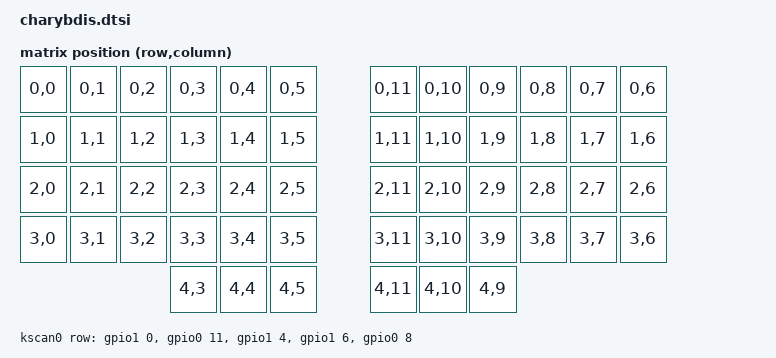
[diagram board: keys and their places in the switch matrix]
#include <dt-bindings/zmk/matrix_transform.h>
#include <dt-bindings/led/led.h>

#include <physical_layouts.dtsi>

/ {
    physical_layout_0: physical_layout_0 {
        compatible = "zmk,physical-layout";
        display-name = "default_transform";

        kscan = <&kscan0>;
        transform = <&matrix_transform0>;

        keys  //                     w   h    x    y     rot    rx    ry
            = <&key_physical_attrs 100 100    0    0       0     0     0>
            , <&key_physical_attrs 100 100  100    0       0     0     0>
            , <&key_physical_attrs 100 100  200    0       0     0     0>
            , <&key_physical_attrs 100 100  300    0       0     0     0>
            , <&key_physical_attrs 100 100  400    0       0     0     0>
            , <&key_physical_attrs 100 100  500    0       0     0     0>
            , <&key_physical_attrs 100 100  700    0       0     0     0>
            , <&key_physical_attrs 100 100  800    0       0     0     0>
            , <&key_physical_attrs 100 100  900    0       0     0     0>
            , <&key_physical_attrs 100 100 1000    0       0     0     0>
            , <&key_physical_attrs 100 100 1100    0       0     0     0>
            , <&key_physical_attrs 100 100 1200    0       0     0     0>
            , <&key_physical_attrs 100 100    0  100       0     0     0>
            , <&key_physical_attrs 100 100  100  100       0     0     0>
            , <&key_physical_attrs 100 100  200  100       0     0     0>
            , <&key_physical_attrs 100 100  300  100       0     0     0>
            , <&key_physical_attrs 100 100  400  100       0     0     0>
            , <&key_physical_attrs 100 100  500  100       0     0     0>
            , <&key_physical_attrs 100 100  700  100       0     0     0>
            , <&key_physical_attrs 100 100  800  100       0     0     0>
            , <&key_physical_attrs 100 100  900  100       0     0     0>
            , <&key_physical_attrs 100 100 1000  100       0     0     0>
            , <&key_physical_attrs 100 100 1100  100       0     0     0>
            , <&key_physical_attrs 100 100 1200  100       0     0     0>
            , <&key_physical_attrs 100 100    0  200       0     0     0>
            , <&key_physical_attrs 100 100  100  200       0     0     0>
            , <&key_physical_attrs 100 100  200  200       0     0     0>
            , <&key_physical_attrs 100 100  300  200       0     0     0>
            , <&key_physical_attrs 100 100  400  200       0     0     0>
            , <&key_physical_attrs 100 100  500  200       0     0     0>
            , <&key_physical_attrs 100 100  700  200       0     0     0>
            , <&key_physical_attrs 100 100  800  200       0     0     0>
            , <&key_physical_attrs 100 100  900  200       0     0     0>
            , <&key_physical_attrs 100 100 1000  200       0     0     0>
            , <&key_physical_attrs 100 100 1100  200       0     0     0>
            , <&key_physical_attrs 100 100 1200  200       0     0     0>
            , <&key_physical_attrs 100 100    0  300       0     0     0>
            , <&key_physical_attrs 100 100  100  300       0     0     0>
            , <&key_physical_attrs 100 100  200  300       0     0     0>
            , <&key_physical_attrs 100 100  300  300       0     0     0>
            , <&key_physical_attrs 100 100  400  300       0     0     0>
            , <&key_physical_attrs 100 100  500  300       0     0     0>
            , <&key_physical_attrs 100 100  700  300       0     0     0>
            , <&key_physical_attrs 100 100  800  300       0     0     0>
            , <&key_physical_attrs 100 100  900  300       0     0     0>
            , <&key_physical_attrs 100 100 1000  300       0     0     0>
            , <&key_physical_attrs 100 100 1100  300       0     0     0>
            , <&key_physical_attrs 100 100 1200  300       0     0     0>
            , <&key_physical_attrs 100 100  300  400       0     0     0>
            , <&key_physical_attrs 100 100  400  400       0     0     0>
            , <&key_physical_attrs 100 100  500  400       0     0     0>
            , <&key_physical_attrs 100 100  700  400       0     0     0>
            , <&key_physical_attrs 100 100  800  400       0     0     0>
            , <&key_physical_attrs 100 100  900  400       0     0     0>
            ;
    };
};

/ {
    chosen {
        zmk,kscan = &kscan0;
        zmk,physical-layouts = &physical_layout_0;
    };

    default_transform: keymap_transform_0 {
		compatible = "zmk,matrix-transform";
        columns = <12>;
        rows = <5>;

        map = <
			RC(0,0) RC(0,1) RC(0,2) RC(0,3) RC(0,4) RC(0,5)                 RC(0,11) RC(0,10) RC(0,9) RC(0,8) RC(0,7) RC(0,6)
			RC(1,0) RC(1,1) RC(1,2) RC(1,3) RC(1,4) RC(1,5)                 RC(1,11) RC(1,10) RC(1,9) RC(1,8) RC(1,7) RC(1,6)
			RC(2,0) RC(2,1) RC(2,2) RC(2,3) RC(2,4) RC(2,5)                 RC(2,11) RC(2,10) RC(2,9) RC(2,8) RC(2,7) RC(2,6)
			RC(3,0) RC(3,1) RC(3,2) RC(3,3) RC(3,4) RC(3,5)                 RC(3,11) RC(3,10) RC(3,9) RC(3,8) RC(3,7) RC(3,6)
			                        RC(4,3) RC(4,4) RC(4,5)                 RC(4,11) RC(4,10) RC(4,9) 
					                    >;
    };
	
    kscan0: kscan {
        compatible = "zmk,kscan-gpio-matrix";
        label = "KSCAN";

        diode-direction = "row2col";
		row-gpios
            = <&gpio1 0 GPIO_ACTIVE_HIGH>
            , <&gpio0 11 GPIO_ACTIVE_HIGH>
            , <&gpio1 4 GPIO_ACTIVE_HIGH>
		    , <&gpio1 6 GPIO_ACTIVE_HIGH>
			, <&gpio0 8 GPIO_ACTIVE_HIGH>  //待定
	                   ;
    };
};
&pinctrl {
    spi3_default: spi3_default {
        group1 {
            psels = <NRF_PSEL(SPIM_SCK, 0, 21)>,
                    <NRF_PSEL(SPIM_MOSI, 0, 24)>,
                    <NRF_PSEL(SPIM_MISO, 0, 24)>;   // 3线模式，MISO与MOSI相同
        };
    };
};

&spi3 {
    compatible = "nordic,nrf-spim";
    status = "okay";
    pinctrl-0 = <&spi3_default>;
    pinctrl-names = "default";
    cs-gpios = <&gpio0 23 GPIO_ACTIVE_LOW>;

    led_strip: ws2812@0 {
        compatible = "worldsemi,ws2812-spi";
        label = "WS2812";
        reg = <0>;
        spi-max-frequency = <4000000>;
        chain-length = <27>;
        spi-one-frame = <0x70>;
        spi-zero-frame = <0x40>;
        color-mapping = <LED_COLOR_ID_GREEN LED_COLOR_ID_RED LED_COLOR_ID_BLUE>;
    };
};

/ {
	chosen {
		zmk,underglow = &led_strip;
	};
};

&physical_layout_0{

	transform = <&default_transform>;
	kscan = <&kscan0>;

};

zephyr_udc0: &usbd { 
    compatible = "nordic,nrf-usbd"; 
    status = "okay"; 

};
	
